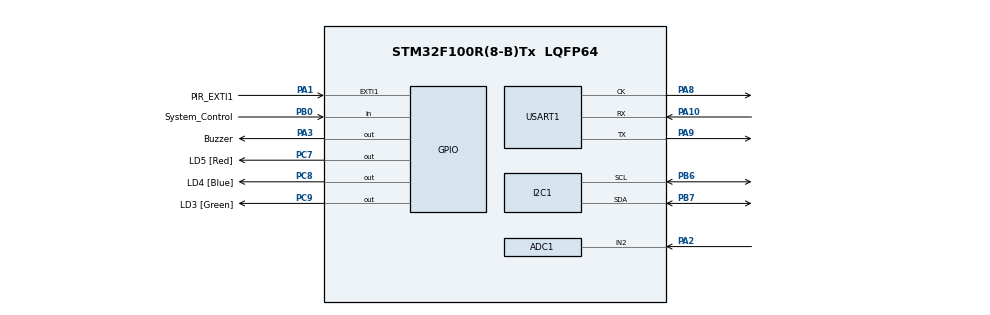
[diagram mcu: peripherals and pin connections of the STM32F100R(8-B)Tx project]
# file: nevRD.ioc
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ADC1.Channel-0\#ChannelRegularConversion=ADC_CHANNEL_2
ADC1.NbrOfConversionFlag=1
ADC1.Rank-0\#ChannelRegularConversion=1
ADC1.SamplingTime-0\#ChannelRegularConversion=ADC_SAMPLETIME_1CYCLE_5
ADC1.master=1
Mcu.Family=STM32F1
Mcu.Name=STM32F100R(8-B)Tx
Mcu.Package=LQFP64
NVIC.EXTI1_IRQn=true\:0\:0\:false\:false\:true\:true\:true\:true
NVIC.PriorityGroup=NVIC_PRIORITYGROUP_4
PA0-WKUP.Mode=SYS_WakeUp0
PA0-WKUP.Signal=SYS_WKUP
PA1.GPIO_Label=PIR_EXTI1
PA1.Signal=GPXTI1
PA10.Mode=Synchronous
PA10.Signal=USART1_RX
PA13.GPIO_Label=TMS_SWDIO
PA13.Mode=Serial_Wire
PA13.Signal=SYS_JTMS-SWDIO
PA14.GPIO_Label=TCK_SWCLK
PA14.Mode=Serial_Wire
PA14.Signal=SYS_JTCK-SWCLK
PA2.Signal=ADCx_IN2
PA3.GPIO_Label=Buzzer
PA3.Signal=GPIO_Output
PA8.Mode=Synchronous
PA8.Signal=USART1_CK
PA9.Mode=Synchronous
PA9.Signal=USART1_TX
PB0.GPIO_Label=System_Control
PB0.Signal=GPIO_Input
PB6.Mode=I2C
PB6.Signal=I2C1_SCL
PB7.Mode=I2C
PB7.Signal=I2C1_SDA
PC14-OSC32_IN.Mode=LSE-External-Oscillator
PC14-OSC32_IN.Signal=RCC_OSC32_IN
PC15-OSC32_OUT.Mode=LSE-External-Oscillator
PC15-OSC32_OUT.Signal=RCC_OSC32_OUT
PC7.GPIO_Label=LD5 [Red]
PC7.Signal=GPIO_Output
PC8.GPIO_Label=LD4 [Blue]
PC8.Signal=GPIO_Output
PC9.GPIO_Label=LD3 [Green]
PC9.Signal=GPIO_Output
PD0-OSC_IN.Mode=HSE-External-Oscillator
PD0-OSC_IN.Signal=RCC_OSC_IN
PD1-OSC_OUT.Mode=HSE-External-Oscillator
PD1-OSC_OUT.Signal=RCC_OSC_OUT
ProjectManager.HeapSize=0x200
ProjectManager.StackSize=0x400
ProjectManager.TargetToolchain=MDK-ARM V5.32
RCC.APB1Freq_Value=8000000
RCC.APB2Freq_Value=8000000
SH.ADCx_IN2.0=ADC1_IN2,IN2
USART1.VirtualMode=VM_SYNC
board=STM32VLDISCOVERY

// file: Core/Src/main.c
/* USER CODE BEGIN Header */
/**
  ******************************************************************************
  * @file           : main.c
  * @brief          : Main program body
  ******************************************************************************
  * @attention
  *
  * Copyright (c) 2024 STMicroelectronics.
  * All rights reserved.
  *
  * This software is licensed under terms that can be found in the LICENSE file
  * in the root directory of this software component.
  * If no LICENSE file comes with this software, it is provided AS-IS.
  *
  ******************************************************************************
  */
/*
	* That code was started to be written on 7.12.24 at 17.57 by Nevfel.
	*/
/* USER CODE END Header */
#include "main.h"

/* USER CODE BEGIN PTD */
typedef struct {
    GPIO_TypeDef *port;
    uint16_t pin;
} ErrorInfo;

/* USER CODE END PTD */

/* USER CODE BEGIN PD */
#define GAS_THRESHOLD 2000
/* USER CODE END PD */

/* USER CODE BEGIN PM */
uint8_t pir_data = 1; // PIR sensor is activated
uint8_t mq2_data = 2; // MQ2 sensor is activated
volatile uint8_t error_code = 0;
volatile uint16_t error_led_pin;
/* USER CODE END PM */

ADC_HandleTypeDef hadc1;

I2C_HandleTypeDef hi2c1;

USART_HandleTypeDef husart1;

void SystemClock_Config(void);
static void MX_GPIO_Init(void);
static void MX_ADC1_Init(void);
static void MX_I2C1_Init(void);
static void MX_USART1_Init(void);
/* USER CODE BEGIN PFP */
void MQ2_Read(void);
void Transmit_Data(uint8_t *data, uint16_t size);
/* USER CODE END PFP */

int main(void)
{

  /* MCU Configuration--------------------------------------------------------*/

  /* Reset of all peripherals, Initializes the Flash interface and the Systick. */
  HAL_Init();

  /* Configure the system clock */
  SystemClock_Config();

  /* Initialize all configured peripherals */
  MX_GPIO_Init();
  MX_ADC1_Init();
  MX_I2C1_Init();
  MX_USART1_Init();

  /* Infinite loop */
  /* USER CODE BEGIN WHILE */
  while (1)
  {
    MQ2_Read();  // Check gas level

    /* USER CODE END WHILE */

  }
}

void SystemClock_Config(void)
{
  RCC_OscInitTypeDef RCC_OscInitStruct = {0};
  RCC_ClkInitTypeDef RCC_ClkInitStruct = {0};
  RCC_PeriphCLKInitTypeDef PeriphClkInit = {0};

  /** Initializes the RCC Oscillators according to the specified parameters
  * in the RCC_OscInitTypeDef structure.
  */
  RCC_OscInitStruct.OscillatorType = RCC_OSCILLATORTYPE_HSI;
  RCC_OscInitStruct.HSIState = RCC_HSI_ON;
  RCC_OscInitStruct.HSICalibrationValue = RCC_HSICALIBRATION_DEFAULT;
  RCC_OscInitStruct.PLL.PLLState = RCC_PLL_NONE;
  if (HAL_RCC_OscConfig(&RCC_OscInitStruct) != HAL_OK)
  {
    Error_Handler();
  }

  /** Initializes the CPU, AHB and APB buses clocks
  */
  RCC_ClkInitStruct.ClockType = RCC_CLOCKTYPE_HCLK|RCC_CLOCKTYPE_SYSCLK
                              |RCC_CLOCKTYPE_PCLK1|RCC_CLOCKTYPE_PCLK2;
  RCC_ClkInitStruct.SYSCLKSource = RCC_SYSCLKSOURCE_HSI;
  RCC_ClkInitStruct.AHBCLKDivider = RCC_SYSCLK_DIV1;
  RCC_ClkInitStruct.APB1CLKDivider = RCC_HCLK_DIV1;
  RCC_ClkInitStruct.APB2CLKDivider = RCC_HCLK_DIV1;

  if (HAL_RCC_ClockConfig(&RCC_ClkInitStruct, FLASH_LATENCY_0) != HAL_OK)
  {
    Error_Handler();
  }
  PeriphClkInit.PeriphClockSelection = RCC_PERIPHCLK_ADC;
  PeriphClkInit.AdcClockSelection = RCC_ADCPCLK2_DIV2;
  if (HAL_RCCEx_PeriphCLKConfig(&PeriphClkInit) != HAL_OK)
  {
    Error_Handler();
  }
}

static void MX_ADC1_Init(void)
{

  ADC_ChannelConfTypeDef sConfig = {0};

  /** Common config
  */
  hadc1.Instance = ADC1;
  hadc1.Init.ScanConvMode = ADC_SCAN_DISABLE;
  hadc1.Init.ContinuousConvMode = DISABLE;
  hadc1.Init.DiscontinuousConvMode = DISABLE;
  hadc1.Init.ExternalTrigConv = ADC_SOFTWARE_START;
  hadc1.Init.DataAlign = ADC_DATAALIGN_RIGHT;
  hadc1.Init.NbrOfConversion = 1;
  if (HAL_ADC_Init(&hadc1) != HAL_OK)
  {
    Error_Handler();
  }

  /** Configure Regular Channel
  */
  sConfig.Channel = ADC_CHANNEL_2;
  sConfig.Rank = ADC_REGULAR_RANK_1;
  sConfig.SamplingTime = ADC_SAMPLETIME_1CYCLE_5;
  if (HAL_ADC_ConfigChannel(&hadc1, &sConfig) != HAL_OK)
  {
    Error_Handler();
  }

}

static void MX_I2C1_Init(void)
{

  hi2c1.Instance = I2C1;
  hi2c1.Init.ClockSpeed = 100000;
  hi2c1.Init.DutyCycle = I2C_DUTYCYCLE_2;
  hi2c1.Init.OwnAddress1 = 0;
  hi2c1.Init.AddressingMode = I2C_ADDRESSINGMODE_7BIT;
  hi2c1.Init.DualAddressMode = I2C_DUALADDRESS_DISABLE;
  hi2c1.Init.OwnAddress2 = 0;
  hi2c1.Init.GeneralCallMode = I2C_GENERALCALL_DISABLE;
  hi2c1.Init.NoStretchMode = I2C_NOSTRETCH_DISABLE;
  if (HAL_I2C_Init(&hi2c1) != HAL_OK)
  {
    Error_Handler();
  }

}

static void MX_USART1_Init(void)
{

  husart1.Instance = USART1;
  husart1.Init.BaudRate = 115200;
  husart1.Init.WordLength = USART_WORDLENGTH_8B;
  husart1.Init.StopBits = USART_STOPBITS_1;
  husart1.Init.Parity = USART_PARITY_NONE;
  husart1.Init.Mode = USART_MODE_TX_RX;
  husart1.Init.CLKPolarity = USART_POLARITY_LOW;
  husart1.Init.CLKPhase = USART_PHASE_1EDGE;
  husart1.Init.CLKLastBit = USART_LASTBIT_DISABLE;
  if (HAL_USART_Init(&husart1) != HAL_OK)
  {
    Error_Handler();
  }

}

static void MX_GPIO_Init(void)
{
  GPIO_InitTypeDef GPIO_InitStruct = {0};

  /* GPIO Ports Clock Enable */
  __HAL_RCC_GPIOC_CLK_ENABLE();
  __HAL_RCC_GPIOD_CLK_ENABLE();
  __HAL_RCC_GPIOA_CLK_ENABLE();
  __HAL_RCC_GPIOB_CLK_ENABLE();

  /*Configure GPIO pin Output Level */
  HAL_GPIO_WritePin(Buzzer_GPIO_Port, Buzzer_Pin, GPIO_PIN_RESET);

  /*Configure GPIO pin Output Level */
  HAL_GPIO_WritePin(GPIOC, LD5_Pin|LD4_Pin|LD3_Pin, GPIO_PIN_RESET);

  /*Configure GPIO pin : PIR_EXTI1_Pin */
  GPIO_InitStruct.Pin = PIR_EXTI1_Pin;
  GPIO_InitStruct.Mode = GPIO_MODE_IT_RISING;
  GPIO_InitStruct.Pull = GPIO_NOPULL;
  HAL_GPIO_Init(PIR_EXTI1_GPIO_Port, &GPIO_InitStruct);

  /*Configure GPIO pin : Buzzer_Pin */
  GPIO_InitStruct.Pin = Buzzer_Pin;
  GPIO_InitStruct.Mode = GPIO_MODE_OUTPUT_PP;
  GPIO_InitStruct.Pull = GPIO_NOPULL;
  GPIO_InitStruct.Speed = GPIO_SPEED_FREQ_LOW;
  HAL_GPIO_Init(Buzzer_GPIO_Port, &GPIO_InitStruct);

  /*Configure GPIO pin : System_Control_Pin */
  GPIO_InitStruct.Pin = System_Control_Pin;
  GPIO_InitStruct.Mode = GPIO_MODE_INPUT;
  GPIO_InitStruct.Pull = GPIO_NOPULL;
  HAL_GPIO_Init(System_Control_GPIO_Port, &GPIO_InitStruct);

  /*Configure GPIO pins : LD5_Pin LD4_Pin LD3_Pin */
  GPIO_InitStruct.Pin = LD5_Pin|LD4_Pin|LD3_Pin;
  GPIO_InitStruct.Mode = GPIO_MODE_OUTPUT_PP;
  GPIO_InitStruct.Pull = GPIO_NOPULL;
  GPIO_InitStruct.Speed = GPIO_SPEED_FREQ_LOW;
  HAL_GPIO_Init(GPIOC, &GPIO_InitStruct);

  /* EXTI interrupt init*/
  HAL_NVIC_SetPriority(EXTI1_IRQn, 0, 0);
  HAL_NVIC_EnableIRQ(EXTI1_IRQn);

}

/* USER CODE BEGIN 4 */
void HAL_GPIO_EXTI_Callback(uint16_t GPIO_Pin) {
    if (GPIO_Pin == GPIO_PIN_1) {
        HAL_GPIO_WritePin(GPIOA, GPIO_PIN_3, GPIO_PIN_SET); // Buzzer ON
        HAL_Delay(500);
        HAL_GPIO_WritePin(GPIOA, GPIO_PIN_3, GPIO_PIN_RESET); // Buzzer OFF

        HAL_USART_Transmit(&husart1, &pir_data, 1, HAL_MAX_DELAY); // pir_data value send to ESP32

				Transmit_Data(&pir_data, 1);
    }
		HAL_Delay(100);
}

void MQ2_Read(void) {
    uint32_t adc_value;

    HAL_ADC_Start(&hadc1);

    if (HAL_ADC_PollForConversion(&hadc1, HAL_MAX_DELAY) == HAL_OK) {
        adc_value = HAL_ADC_GetValue(&hadc1);
    }

    HAL_ADC_Stop(&hadc1);

    if (adc_value > GAS_THRESHOLD) {

        HAL_GPIO_WritePin(GPIOA, GPIO_PIN_3, GPIO_PIN_SET); // Buzzer ON
				HAL_USART_Transmit(&husart1, &mq2_data, 1, HAL_MAX_DELAY); // mq2_data value send to ESP32
    } else {

        HAL_GPIO_WritePin(GPIOA, GPIO_PIN_3, GPIO_PIN_RESET); // Buzzer OFF
    }

		Transmit_Data(&mq2_data, 1);

}

void Transmit_Data(uint8_t *data, uint16_t size) {
    if (HAL_USART_Transmit(&husart1, data, size, HAL_MAX_DELAY) != HAL_OK) {
        error_code = (*data == pir_data) ? 2 : 3;
        Error_Handler();
    }
}

/* USER CODE END 4 */

void Error_Handler(void)
{
  /* USER CODE BEGIN Error_Handler_Debug */
  /* User can add his own implementation to report the HAL error return state */

  __disable_irq(); //disables all interrupts. This ensures that the system
									 //is not interfered with by another interrupt during the error.
	ErrorInfo error_info;

	if (error_code == 2) {
			error_info.port = GPIOC;
			error_info.pin = GPIO_PIN_9; // PIR error
	} else if (error_code == 3) {
			error_info.port = GPIOC;
			error_info.pin = GPIO_PIN_8; // MQ2 error
	} else {
			error_info.port = GPIOC;
			error_info.pin = GPIO_PIN_7; // Default error
	}

	while (1) {
			HAL_GPIO_TogglePin(error_info.port, error_info.pin);
			HAL_Delay(200);
	}

  /* USER CODE END Error_Handler_Debug */
}
